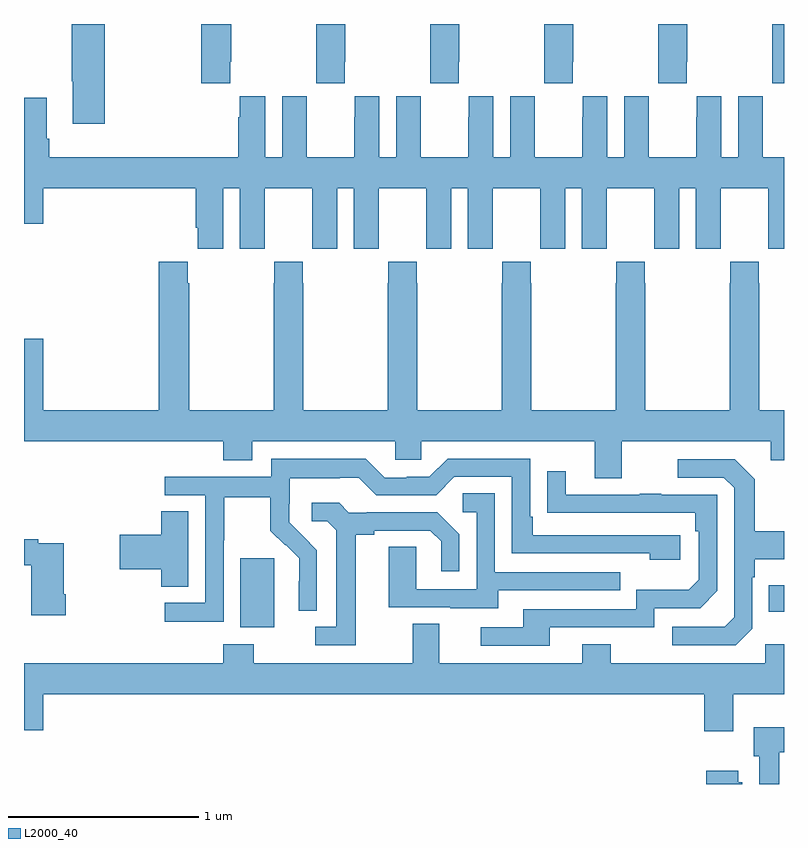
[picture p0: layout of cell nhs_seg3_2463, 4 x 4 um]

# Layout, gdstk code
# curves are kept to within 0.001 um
import gdstk
lib = gdstk.Library(unit=1e-6, precision=1e-09)
def R(c, l, rs):  # rectangles x0, y0, x1, y1
    for r in rs: c.add(gdstk.rectangle(r[:2], r[2:], *l))
def P(c, l, *ps):  # polygons
    for p in ps: c.add(gdstk.Polygon(p, *l))
L2000_40 = (2000, 40)

nhs_seg3_2463 = lib.new_cell('nhs_seg3_2463')
R(nhs_seg3_2463, L2000_40, [(238.139,745.226,238.318,745.587), (240.919,745.307,241,745.447)])
P(nhs_seg3_2463, L2000_40, [(238.689,748.201),(238.692,748.201),(238.692,748.4),(238.537,748.4),(238.537,748.201),(238.539,748.201),(238.539,748.089),(238.689,748.089)],
  [(238.085,748.201),(238.092,748.201),(238.092,748.4),(237.932,748.4),(237.932,748.089),(238.085,748.089)],
  [(237.425,748.4),(237.25,748.4),(237.25,748.099),(237.257,748.099),(237.257,747.876),(237.425,747.876)],
  [(241,748.4),(240.937,748.4),(240.937,748.201),(240.939,748.201),(240.939,748.089),(241,748.089)],
  [(239.889,748.201),(239.892,748.201),(239.892,748.4),(239.737,748.4),(239.737,748.201),(239.739,748.201),(239.739,748.089),(239.889,748.089)],
  [(239.289,748.201),(239.292,748.201),(239.292,748.4),(239.137,748.4),(239.137,748.201),(239.139,748.201),(239.139,748.089),(239.289,748.089)],
  [(240.489,748.201),(240.492,748.201),(240.492,748.4),(240.337,748.4),(240.337,748.201),(240.339,748.201),(240.339,748.089),(240.489,748.089)],
  [(238.048,747.536),(238.136,747.536),(238.136,747.216),(238.266,747.216),(238.266,747.328),(238.267,747.328),(238.267,747.536),(238.517,747.536),(238.517,747.328),(238.518,747.328),(238.518,747.216),(238.648,747.216),(238.648,747.536),(238.736,747.536),(238.736,747.216),(238.866,747.216),(238.866,747.328),(238.867,747.328),(238.867,747.536),(239.117,747.536),(239.117,747.328),(239.118,747.328),(239.118,747.216),(239.248,747.216),(239.248,747.536),(239.336,747.536),(239.336,747.216),(239.466,747.216),(239.466,747.328),(239.467,747.328),(239.467,747.536),(239.717,747.536),(239.717,747.328),(239.718,747.328),(239.718,747.216),(239.848,747.216),(239.848,747.536),(239.936,747.536),(239.936,747.216),(240.066,747.216),(240.066,747.328),(240.067,747.328),(240.067,747.536),(240.317,747.536),(240.317,747.328),(240.318,747.328),(240.318,747.216),(240.448,747.216),(240.448,747.536),(240.536,747.536),(240.536,747.216),(240.666,747.216),(240.666,747.328),(240.667,747.328),(240.667,747.536),(240.917,747.536),(240.917,747.328),(240.918,747.328),(240.918,747.216),(241,747.216),(241,747.7),(240.889,747.7),(240.889,747.908),(240.888,747.908),(240.888,748.021),(240.758,748.021),(240.758,747.7),(240.67,747.7),(240.67,748.021),(240.54,748.021),(240.54,747.908),(240.539,747.908),(240.539,747.7),(240.289,747.7),(240.289,747.908),(240.288,747.908),(240.288,748.021),(240.158,748.021),(240.158,747.7),(240.07,747.7),(240.07,748.021),(239.94,748.021),(239.94,747.908),(239.939,747.908),(239.939,747.7),(239.689,747.7),(239.689,747.908),(239.688,747.908),(239.688,748.021),(239.558,748.021),(239.558,747.7),(239.47,747.7),(239.47,748.021),(239.34,748.021),(239.34,747.908),(239.339,747.908),(239.339,747.7),(239.089,747.7),(239.089,747.908),(239.088,747.908),(239.088,748.021),(238.958,748.021),(238.958,747.7),(238.87,747.7),(238.87,748.021),(238.74,748.021),(238.74,747.908),(238.739,747.908),(238.739,747.7),(238.489,747.7),(238.489,747.908),(238.488,747.908),(238.488,748.021),(238.358,748.021),(238.358,747.7),(238.27,747.7),(238.27,748.021),(238.136,748.021),(238.136,747.908),(238.127,747.908),(238.127,747.7),(237.134,747.7),(237.134,747.796),(237.121,747.796),(237.121,748.012),(237,748.012),(237,747.348),(237.1,747.348),(237.1,747.536),(237.905,747.536),(237.905,747.328),(237.914,747.328),(237.914,747.216),(238.048,747.216)],
  [(238.953,746.106),(239.091,746.106),(239.091,746.204),(240.005,746.204),(240.005,746.01),(240.145,746.01),(240.145,746.204),(240.929,746.204),(240.929,746.105),(241,746.105),(241,746.368),(240.87,746.368),(240.87,747.035),(240.867,747.035),(240.867,747.148),(240.717,747.148),(240.717,747.035),(240.715,747.035),(240.715,746.368),(240.27,746.368),(240.27,747.035),(240.267,747.035),(240.267,747.148),(240.117,747.148),(240.117,747.035),(240.115,747.035),(240.115,746.368),(239.67,746.368),(239.67,747.035),(239.667,747.035),(239.667,747.148),(239.517,747.148),(239.517,747.035),(239.515,747.035),(239.515,746.368),(239.07,746.368),(239.07,747.035),(239.067,747.035),(239.067,747.148),(238.917,747.148),(238.917,747.035),(238.915,747.035),(238.915,746.368),(238.47,746.368),(238.47,747.035),(238.467,747.035),(238.467,747.148),(238.317,747.148),(238.317,747.035),(238.315,747.035),(238.315,746.368),(237.87,746.368),(237.87,747.035),(237.863,747.035),(237.863,747.148),(237.71,747.148),(237.71,746.368),(237.1,746.368),(237.1,746.743),(237,746.743),(237,746.204),(238.049,746.204),(238.049,746.105),(238.201,746.105),(238.201,746.204),(238.953,746.204)],
  [(238.05,745.684),(238.053,745.684),(238.053,745.908),(238.297,745.908),(238.297,745.733),(238.374,745.656),(238.377,745.659),(238.448,745.589),(238.448,745.466),(238.446,745.466),(238.446,745.312),(238.542,745.312),(238.542,745.63),(238.396,745.778),(238.396,745.875),(238.398,745.875),(238.398,746.009),(238.661,746.009),(238.661,746.013),(238.761,746.013),(238.854,745.92),(239.169,745.92),(239.265,746.016),(239.568,746.016),(239.568,745.614),(240.293,745.614),(240.293,745.58),(240.454,745.58),(240.454,745.71),(239.677,745.71),(239.677,745.807),(239.664,745.807),(239.664,746.112),(239.229,746.112),(239.133,746.016),(239.015,746.016),(239.015,746.013),(238.899,746.013),(238.799,746.113),(238.302,746.113),(238.302,746.016),(237.741,746.016),(237.741,745.92),(237.954,745.92),(237.954,745.353),(237.741,745.353),(237.741,745.255),(238.05,745.255)],
  [(240.834,745.218),(240.834,745.487),(240.847,745.487),(240.847,745.583),(241,745.583),(241,745.731),(240.847,745.731),(240.847,746.003),(240.741,746.109),(240.441,746.109),(240.441,746.013),(240.684,746.013),(240.738,745.959),(240.738,745.278),(240.687,745.227),(240.411,745.227),(240.411,745.131),(240.747,745.131)],
  [(239.767,745.224),(240.318,745.224),(240.318,745.326),(240.558,745.326),(240.648,745.416),(240.648,745.923),(240.353,745.923),(240.353,745.928),(240.241,745.928),(240.241,745.923),(239.851,745.923),(239.851,746.047),(239.755,746.047),(239.755,745.828),(240.532,745.827),(240.532,745.73),(240.552,745.73),(240.552,745.476),(240.499,745.423),(240.222,745.423),(240.222,745.32),(239.627,745.32),(239.627,745.224),(239.403,745.224),(239.403,745.128),(239.767,745.128)],
  [(239.497,745.419),(240.137,745.419),(240.137,745.515),(239.478,745.515),(239.478,745.931),(239.31,745.931),(239.31,745.83),(239.382,745.83),(239.382,745.425),(239.064,745.425),(239.064,745.649),(238.919,745.649),(238.919,745.329),(239.243,745.329),(239.243,745.325),(239.497,745.325)],
  [(238.747,745.712),(238.843,745.712),(238.843,745.734),(239.138,745.734),(239.195,745.677),(239.195,745.521),(239.292,745.521),(239.292,745.714),(239.176,745.83),(238.804,745.83),(238.804,745.827),(238.71,745.827),(238.658,745.879),(238.515,745.879),(238.515,745.782),(238.596,745.782),(238.643,745.735),(238.643,745.227),(238.533,745.227),(238.533,745.131),(238.747,745.131)],
  [(237.865,745.835),(237.722,745.835),(237.722,745.712),(237.504,745.712),(237.504,745.529),(237.722,745.529),(237.722,745.438),(237.865,745.438)],
  [(237.221,745.399),(237.208,745.399),(237.208,745.668),(237.074,745.668),(237.074,745.688),(237,745.688),(237,745.552),(237.038,745.552),(237.038,745.287),(237.221,745.287)],
  [(240.733,744.872),(241,744.872),(241,745.135),(240.9,745.135),(240.9,745.036),(240.087,745.036),(240.087,745.135),(239.939,745.135),(239.939,745.036),(239.185,745.036),(239.185,745.244),(239.045,745.244),(239.045,745.036),(238.209,745.036),(238.209,745.135),(238.049,745.135),(238.049,745.036),(237,745.036),(237,744.684),(237.1,744.684),(237.1,744.872),(240.581,744.872),(240.581,744.678),(240.733,744.678)],
  [(240.976,744.566),(241,744.566),(241,744.7),(240.842,744.7),(240.842,744.546),(240.869,744.546),(240.869,744.4),(240.976,744.4)],
  [(240.781,744.408),(240.76,744.408),(240.76,744.469),(240.59,744.469),(240.59,744.4),(240.781,744.4)])

lib.write_gds('nhs_seg3_2463.gds')
